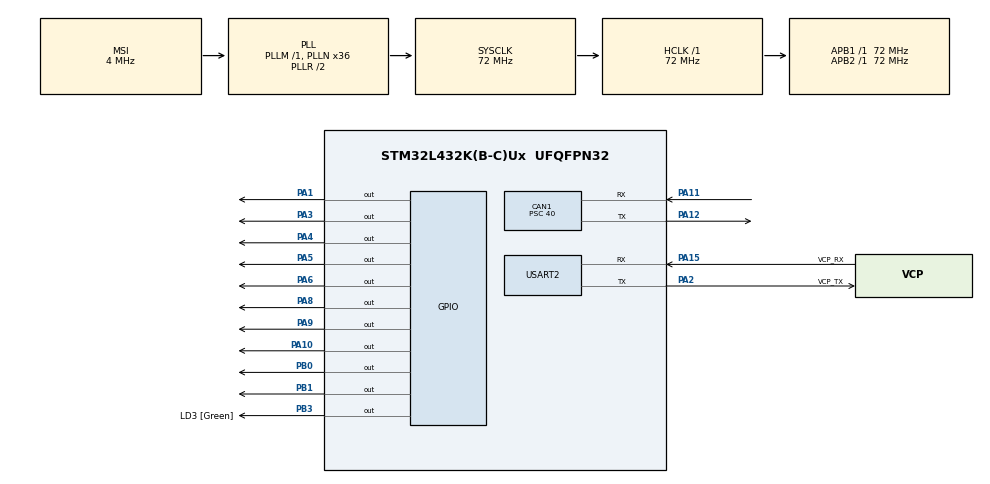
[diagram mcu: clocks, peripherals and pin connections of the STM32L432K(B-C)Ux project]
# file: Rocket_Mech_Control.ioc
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CAN1.ABOM=ENABLE
CAN1.BS1=CAN_BS1_14TQ
CAN1.CalculateBaudRate=112500
CAN1.CalculateTimeBit=8888
CAN1.CalculateTimeQuantum=555.5555555555555
CAN1.Mode=CAN_MODE_NORMAL
CAN1.Prescaler=40
Mcu.Family=STM32L4
Mcu.Name=STM32L432K(B-C)Ux
Mcu.Package=UFQFPN32
NVIC.CAN1_RX0_IRQn=true\:0\:0\:false\:false\:true\:true\:true\:true
NVIC.PriorityGroup=NVIC_PRIORITYGROUP_4
PA0.GPIO_Label=MCO [High speed clock in]
PA0.Mode=HSE-External-Clock-Source-for-LittleOrca
PA0.Signal=RCC_CK_IN
PA1.Signal=GPIO_Output
PA10.GPIO_PuPd=GPIO_PULLDOWN
PA10.Signal=GPIO_Output
PA11.GPIO_PuPd=GPIO_PULLUP
PA11.Mode=CAN_Activate
PA11.Signal=CAN1_RX
PA12.Mode=CAN_Activate
PA12.Signal=CAN1_TX
PA13\ (JTMS-SWDIO).GPIO_Label=SWDIO
PA13\ (JTMS-SWDIO).Mode=Serial_Wire
PA13\ (JTMS-SWDIO).Signal=SYS_JTMS-SWDIO
PA14\ (JTCK-SWCLK).GPIO_Label=SWCLK
PA14\ (JTCK-SWCLK).Mode=Serial_Wire
PA14\ (JTCK-SWCLK).Signal=SYS_JTCK-SWCLK
PA15\ (JTDI).GPIO_Label=VCP_RX
PA15\ (JTDI).Mode=Asynchronous
PA15\ (JTDI).Signal=USART2_RX
PA2.GPIO_Label=VCP_TX
PA2.Mode=Asynchronous
PA2.Signal=USART2_TX
PA3.Signal=GPIO_Output
PA4.Signal=GPIO_Output
PA5.GPIO_PuPd=GPIO_PULLDOWN
PA5.Signal=GPIO_Output
PA6.GPIO_PuPd=GPIO_PULLDOWN
PA6.Signal=GPIO_Output
PA8.GPIO_PuPd=GPIO_PULLDOWN
PA8.Signal=GPIO_Output
PA9.GPIO_PuPd=GPIO_PULLDOWN
PA9.Signal=GPIO_Output
PB0.GPIO_PuPd=GPIO_PULLDOWN
PB0.Signal=GPIO_Output
PB1.GPIO_PuPd=GPIO_PULLDOWN
PB1.Signal=GPIO_Output
PB3\ (JTDO-TRACESWO).GPIO_Label=LD3 [Green]
PB3\ (JTDO-TRACESWO).Signal=GPIO_Output
PC14-OSC32_IN\ (PC14).Mode=LSE-External-Oscillator
PC14-OSC32_IN\ (PC14).Signal=RCC_OSC32_IN
PC15-OSC32_OUT\ (PC15).Mode=LSE-External-Oscillator
PC15-OSC32_OUT\ (PC15).Signal=RCC_OSC32_OUT
ProjectManager.HeapSize=0x200
ProjectManager.StackSize=0x400
ProjectManager.TargetToolchain=STM32CubeIDE
RCC.ADCFreq_Value=16000000
RCC.AHBFreq_Value=72000000
RCC.APB1Freq_Value=72000000
RCC.APB1TimFreq_Value=72000000
RCC.APB2Freq_Value=72000000
RCC.APB2TimFreq_Value=72000000
RCC.CortexFreq_Value=72000000
RCC.HCLKFreq_Value=72000000
RCC.HSE_VALUE=8000000
RCC.HSI16_VALUE=16000000
RCC.HSI48_VALUE=48000000
RCC.HSI_VALUE=16000000
RCC.MSI_VALUE=4000000
RCC.PLLMUL=RCC_PLLMUL_4
RCC.PLLN=36
RCC.SYSCLKFreq_VALUE=72000000
RCC.SYSCLKSource=RCC_SYSCLKSOURCE_PLLCLK
RCC.USBFreq_Value=16000000
RCC.VCOOutputFreq_Value=144000000
USART2.VirtualMode-Asynchronous=VM_ASYNC
board=NUCLEO-L432KC

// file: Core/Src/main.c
/* USER CODE BEGIN Header */
/**
  ******************************************************************************
  * @file           : main.c
  * @brief          : Main program body
  ******************************************************************************
  * @attention
  *
  * Copyright (c) 2023 STMicroelectronics.
  * All rights reserved.
  *
  * This software is licensed under terms that can be found in the LICENSE file
  * in the root directory of this software component.
  * If no LICENSE file comes with this software, it is provided AS-IS.
  *
  ******************************************************************************
  */
/* USER CODE END Header */
#include "main.h"

/* USER CODE BEGIN Includes */
#include "stdio.h"
#include "string.h"
/* USER CODE END Includes */

/* USER CODE BEGIN PTD */
typedef struct pins {
	uint8_t pinMode;
	uint8_t pinId;
	GPIO_TypeDef *pinReg;
	uint16_t pinNo;
} pin;
/* USER CODE END PTD */

CAN_HandleTypeDef hcan1;

UART_HandleTypeDef huart2;

void SystemClock_Config(void);
static void MX_GPIO_Init(void);
static void MX_USART2_UART_Init(void);
static void MX_CAN1_Init(void);
/* USER CODE BEGIN PFP */
void HAL_CAN_RxFifo0MsgPendingCallback(CAN_HandleTypeDef *hcan1);
void togglePin(pin *PinOut,  CAN_TxHeaderTypeDef *TxHeader, uint8_t TxData[8], uint32_t *TxMailbox);
/* USER CODE END PFP */

/* USER CODE BEGIN 0 */
uint8_t DataInFlag = RESET;
uint8_t BadCharFlag = RESET;
volatile uint8_t stateTxTime = RESET;

//CAN MSG Buffers
CAN_TxHeaderTypeDef TxHeader;
CAN_RxHeaderTypeDef RxHeader;

uint32_t TxMailbox;

uint8_t TxData[8]  = {0};
uint8_t RxData[8];

uint8_t ProcBuffer[8];
uint8_t pinStates[8] = { 0 };

/* USER CODE END 0 */

int main(void)
{

  /* MCU Configuration--------------------------------------------------------*/

  /* Reset of all peripherals, Initializes the Flash interface and the Systick. */
  HAL_Init();

  /* Configure the system clock */
  SystemClock_Config();

  /* Initialize all configured peripherals */
  MX_GPIO_Init();
  MX_USART2_UART_Init();
  MX_CAN1_Init();
  /* USER CODE BEGIN 2 */
  // Control Flags

  //Start the CAN peripheral
  HAL_CAN_Start(&hcan1);
  //Enable notification interrupt on pending Rx messages
  HAL_CAN_ActivateNotification(&hcan1, CAN_IT_RX_FIFO0_MSG_PENDING);

  //Set Tx Header Arbitration and Control fields
  TxHeader.DLC = 8; //only sending one number representing id of valve toggled
  TxHeader.ExtId = 0;
  TxHeader.IDE = CAN_ID_STD;
  TxHeader.RTR = CAN_RTR_DATA;
  TxHeader.StdId = 0x132;
  TxHeader.TransmitGlobalTime = DISABLE;

  //Set up pin typedefs
  pin pin1;
  pin pin2;
  pin pin3;
  pin pin4;
  pin pin5;
  pin pin6;
  pin pin7;
  pin pin8;

  pin1.pinMode = RESET;
  pin1.pinId = 1;
  pin1.pinReg = GPIOA;
  pin1.pinNo = GPIO_PIN_9;

  pin2.pinMode = RESET;
  pin2.pinId = 2;
  pin2.pinReg = GPIOA;
  pin2.pinNo = GPIO_PIN_10;

  pin3.pinMode = RESET;
  pin3.pinId = 3;
  pin3.pinReg = GPIOB;
  pin3.pinNo = GPIO_PIN_0;

  pin4.pinMode = RESET;
  pin4.pinId = 4;
  pin4.pinReg = GPIOA; //Was GPIOB

  pin4.pinNo = GPIO_PIN_5; //Was GPIO_PIN_7
  pin5.pinMode = RESET;
  pin5.pinId = 5;
  pin5.pinReg = GPIOA; //Was GPIOB
  pin5.pinNo = GPIO_PIN_4; //Was GPIO_PIN_6

  pin6.pinMode = RESET;
  pin6.pinId = 6;
  pin6.pinReg = GPIOB;
  pin6.pinNo = GPIO_PIN_1;

  pin7.pinMode = RESET;
  pin7.pinId = 7;
  pin7.pinReg = GPIOA;
  pin7.pinNo = GPIO_PIN_8;

  pin8.pinMode = RESET;
  pin8.pinId = 8;
  pin8.pinReg = GPIOA;	//Still GPIOB
  pin8.pinNo = GPIO_PIN_1;// Was GPIO_PIN_5

  pin *pinActive = &pin1;

  /* USER CODE END 2 */

  /* Infinite loop */
  /* USER CODE BEGIN WHILE */
  while (1)
  {
	  //send the message (Should be received in the RxFifo0)
	  if(DataInFlag){
		  for( uint8_t i = 0; i< 8; i++){
			  switch (ProcBuffer[i]){
			  case 1:
				  pinActive = &pin1;
				  pinStates[0] ^= 1;
				  break;
			  case 2:
				  pinActive = &pin2;
				  pinStates[1] ^= 1;
				  break;
			  case 3:
				  pinActive = &pin3;
				  pinStates[2] ^= 1;
				  break;
			  case 4:
				  pinActive = &pin4;
				  pinStates[3] ^= 1;
				  break;
			  case 5:
				  pinActive = &pin5;
				  pinStates[4] ^= 1;
				  break;
			  case 6:
				  pinActive = &pin6;
				  pinStates[5] ^= 1;
				  break;
			  case 7:
				  pinActive = &pin7;
				  pinStates[6] ^= 1;
				  break;
			  case 8:
				  pinActive = &pin8;
				  pinStates[7] ^= 1;
				  break;
			  default:
				  BadCharFlag = SET;
				  break;
			  }
			  if(!BadCharFlag){
				  togglePin(pinActive,&TxHeader, TxData, &TxMailbox);
			  }
			  BadCharFlag = RESET;
			  HAL_Delay(10);

		  }
		  HAL_Delay(2);

		  DataInFlag = RESET;

	  }

      if (stateTxTime == SET) {
		static int count = 0;
		if (++count >= 100) {
			HAL_CAN_AddTxMessage(&hcan1, &TxHeader, pinStates, &TxMailbox);
			count = 0;
		}
		stateTxTime = RESET;
      }

    /* USER CODE END WHILE */

  }
}

void SystemClock_Config(void)
{
  RCC_OscInitTypeDef RCC_OscInitStruct = {0};
  RCC_ClkInitTypeDef RCC_ClkInitStruct = {0};

  /** Configure the main internal regulator output voltage
  */
  if (HAL_PWREx_ControlVoltageScaling(PWR_REGULATOR_VOLTAGE_SCALE1) != HAL_OK)
  {
    Error_Handler();
  }

  /** Configure LSE Drive Capability
  */
  HAL_PWR_EnableBkUpAccess();
  __HAL_RCC_LSEDRIVE_CONFIG(RCC_LSEDRIVE_LOW);

  /** Initializes the RCC Oscillators according to the specified parameters
  * in the RCC_OscInitTypeDef structure.
  */
  RCC_OscInitStruct.OscillatorType = RCC_OSCILLATORTYPE_LSE|RCC_OSCILLATORTYPE_MSI;
  RCC_OscInitStruct.LSEState = RCC_LSE_ON;
  RCC_OscInitStruct.MSIState = RCC_MSI_ON;
  RCC_OscInitStruct.MSICalibrationValue = 0;
  RCC_OscInitStruct.MSIClockRange = RCC_MSIRANGE_6;
  RCC_OscInitStruct.PLL.PLLState = RCC_PLL_ON;
  RCC_OscInitStruct.PLL.PLLSource = RCC_PLLSOURCE_MSI;
  RCC_OscInitStruct.PLL.PLLM = 1;
  RCC_OscInitStruct.PLL.PLLN = 36;
  RCC_OscInitStruct.PLL.PLLP = RCC_PLLP_DIV7;
  RCC_OscInitStruct.PLL.PLLQ = RCC_PLLQ_DIV2;
  RCC_OscInitStruct.PLL.PLLR = RCC_PLLR_DIV2;
  if (HAL_RCC_OscConfig(&RCC_OscInitStruct) != HAL_OK)
  {
    Error_Handler();
  }

  /** Initializes the CPU, AHB and APB buses clocks
  */
  RCC_ClkInitStruct.ClockType = RCC_CLOCKTYPE_HCLK|RCC_CLOCKTYPE_SYSCLK
                              |RCC_CLOCKTYPE_PCLK1|RCC_CLOCKTYPE_PCLK2;
  RCC_ClkInitStruct.SYSCLKSource = RCC_SYSCLKSOURCE_PLLCLK;
  RCC_ClkInitStruct.AHBCLKDivider = RCC_SYSCLK_DIV1;
  RCC_ClkInitStruct.APB1CLKDivider = RCC_HCLK_DIV1;
  RCC_ClkInitStruct.APB2CLKDivider = RCC_HCLK_DIV1;

  if (HAL_RCC_ClockConfig(&RCC_ClkInitStruct, FLASH_LATENCY_4) != HAL_OK)
  {
    Error_Handler();
  }

  /** Enable MSI Auto calibration
  */
  HAL_RCCEx_EnableMSIPLLMode();
}

static void MX_CAN1_Init(void)
{

  hcan1.Instance = CAN1;
  hcan1.Init.Prescaler = 40;
  hcan1.Init.Mode = CAN_MODE_NORMAL;
  hcan1.Init.SyncJumpWidth = CAN_SJW_1TQ;
  hcan1.Init.TimeSeg1 = CAN_BS1_14TQ;
  hcan1.Init.TimeSeg2 = CAN_BS2_1TQ;
  hcan1.Init.TimeTriggeredMode = DISABLE;
  hcan1.Init.AutoBusOff = ENABLE;
  hcan1.Init.AutoWakeUp = DISABLE;
  hcan1.Init.AutoRetransmission = DISABLE;
  hcan1.Init.ReceiveFifoLocked = DISABLE;
  hcan1.Init.TransmitFifoPriority = DISABLE;
  if (HAL_CAN_Init(&hcan1) != HAL_OK)
  {
    Error_Handler();
  }
  /* USER CODE BEGIN CAN1_Init 2 */
  CAN_FilterTypeDef canfilterconfig;

  //Set the CAN filter typedef elements
  canfilterconfig.FilterActivation = CAN_FILTER_ENABLE;	//Enable or Disable Filters
  canfilterconfig.FilterBank = 10;						//Specify which Filter bank to use
  canfilterconfig.FilterFIFOAssignment = CAN_RX_FIFO0;
  canfilterconfig.FilterIdHigh = 0x103<<5;
  canfilterconfig.FilterIdLow = 0x0000;
  canfilterconfig.FilterMaskIdHigh = 0x103<<5;
  canfilterconfig.FilterMaskIdLow = 0x0000;
  canfilterconfig.FilterMode = CAN_FILTERMODE_IDMASK;
  canfilterconfig.FilterScale = CAN_FILTERSCALE_32BIT;
  canfilterconfig.SlaveStartFilterBank = 0;				//Decides which bank belongs to slave CAN (useless as there is no CAN)

  //Call CAN Filter Configuration function
  HAL_CAN_ConfigFilter(&hcan1, &canfilterconfig);

  /* USER CODE END CAN1_Init 2 */

}

static void MX_USART2_UART_Init(void)
{

  huart2.Instance = USART2;
  huart2.Init.BaudRate = 115200;
  huart2.Init.WordLength = UART_WORDLENGTH_8B;
  huart2.Init.StopBits = UART_STOPBITS_1;
  huart2.Init.Parity = UART_PARITY_NONE;
  huart2.Init.Mode = UART_MODE_TX_RX;
  huart2.Init.HwFlowCtl = UART_HWCONTROL_NONE;
  huart2.Init.OverSampling = UART_OVERSAMPLING_16;
  huart2.Init.OneBitSampling = UART_ONE_BIT_SAMPLE_DISABLE;
  huart2.AdvancedInit.AdvFeatureInit = UART_ADVFEATURE_NO_INIT;
  if (HAL_UART_Init(&huart2) != HAL_OK)
  {
    Error_Handler();
  }

}

static void MX_GPIO_Init(void)
{
  GPIO_InitTypeDef GPIO_InitStruct = {0};

  /* GPIO Ports Clock Enable */
  __HAL_RCC_GPIOC_CLK_ENABLE();
  __HAL_RCC_GPIOA_CLK_ENABLE();
  __HAL_RCC_GPIOB_CLK_ENABLE();

  /*Configure GPIO pin Output Level */
  HAL_GPIO_WritePin(GPIOA, GPIO_PIN_1|GPIO_PIN_3|GPIO_PIN_4|GPIO_PIN_5
                          |GPIO_PIN_6|GPIO_PIN_8|GPIO_PIN_9|GPIO_PIN_10, GPIO_PIN_RESET);

  /*Configure GPIO pin Output Level */
  HAL_GPIO_WritePin(GPIOB, GPIO_PIN_0|GPIO_PIN_1|LD3_Pin, GPIO_PIN_RESET);

  /*Configure GPIO pins : PA1 PA3 PA4 */
  GPIO_InitStruct.Pin = GPIO_PIN_1|GPIO_PIN_3|GPIO_PIN_4;
  GPIO_InitStruct.Mode = GPIO_MODE_OUTPUT_PP;
  GPIO_InitStruct.Pull = GPIO_NOPULL;
  GPIO_InitStruct.Speed = GPIO_SPEED_FREQ_LOW;
  HAL_GPIO_Init(GPIOA, &GPIO_InitStruct);

  /*Configure GPIO pins : PA5 PA6 PA8 PA9
                           PA10 */
  GPIO_InitStruct.Pin = GPIO_PIN_5|GPIO_PIN_6|GPIO_PIN_8|GPIO_PIN_9
                          |GPIO_PIN_10;
  GPIO_InitStruct.Mode = GPIO_MODE_OUTPUT_PP;
  GPIO_InitStruct.Pull = GPIO_PULLDOWN;
  GPIO_InitStruct.Speed = GPIO_SPEED_FREQ_LOW;
  HAL_GPIO_Init(GPIOA, &GPIO_InitStruct);

  /*Configure GPIO pins : PB0 PB1 */
  GPIO_InitStruct.Pin = GPIO_PIN_0|GPIO_PIN_1;
  GPIO_InitStruct.Mode = GPIO_MODE_OUTPUT_PP;
  GPIO_InitStruct.Pull = GPIO_PULLDOWN;
  GPIO_InitStruct.Speed = GPIO_SPEED_FREQ_LOW;
  HAL_GPIO_Init(GPIOB, &GPIO_InitStruct);

  /*Configure GPIO pin : LD3_Pin */
  GPIO_InitStruct.Pin = LD3_Pin;
  GPIO_InitStruct.Mode = GPIO_MODE_OUTPUT_PP;
  GPIO_InitStruct.Pull = GPIO_NOPULL;
  GPIO_InitStruct.Speed = GPIO_SPEED_FREQ_LOW;
  HAL_GPIO_Init(LD3_GPIO_Port, &GPIO_InitStruct);

}

/* USER CODE BEGIN 4 */
void HAL_SYSTICK_Callback(void) {

		stateTxTime = SET;

}

void HAL_CAN_RxFifo0MsgPendingCallback(CAN_HandleTypeDef *hcan1) {

	HAL_CAN_GetRxMessage(hcan1, CAN_RX_FIFO0, &RxHeader, RxData);
	memcpy(ProcBuffer, RxData, 8);
	DataInFlag = SET;
	HAL_GPIO_TogglePin(GPIOB, GPIO_PIN_3);
}

void togglePin(pin *PinOut,  CAN_TxHeaderTypeDef *TxHeader, uint8_t TxData[8], uint32_t *TxMailbox){
	//HAL_GPIO_TogglePin(PinOut.pinReg,  PinOut.pinNo);
	PinOut->pinMode = !PinOut->pinMode;
	if(PinOut->pinMode){
		HAL_GPIO_WritePin(PinOut->pinReg, PinOut->pinNo, SET);
	}
	else {
		HAL_GPIO_WritePin(PinOut->pinReg, PinOut->pinNo, RESET);
	}
//	TxData[0] = PinOut->pinId;
//	TxData[1] = PinOut->pinMode;
//	HAL_CAN_AddTxMessage(&hcan1, TxHeader, TxData, TxMailbox);
	HAL_GPIO_TogglePin(GPIOB, GPIO_PIN_3);

}
/* USER CODE END 4 */

void Error_Handler(void)
{
  __disable_irq();
  while (1)
  {
  }
}
